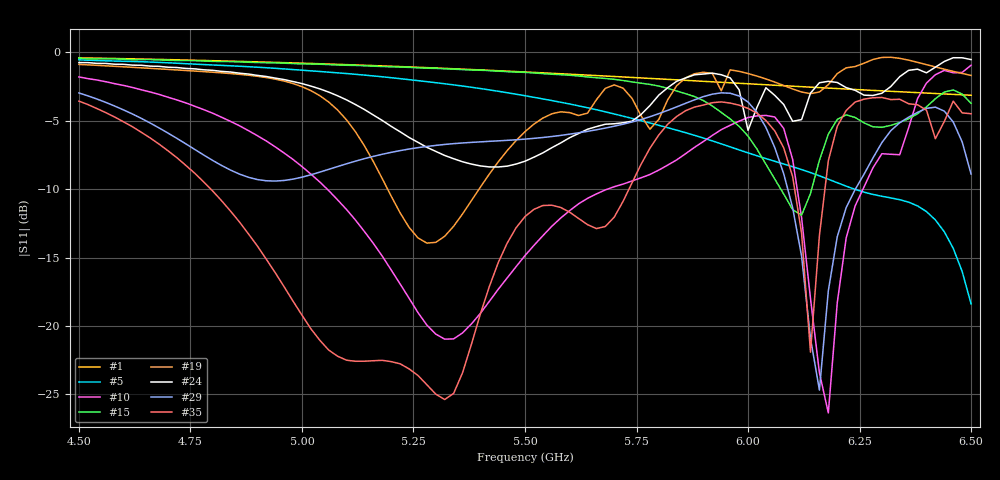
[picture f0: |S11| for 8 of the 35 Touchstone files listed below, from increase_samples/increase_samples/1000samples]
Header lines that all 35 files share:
! TOUCHSTONE file generated by CST MICROWAVE STUDIO
! Project name: L.cst
! Header version: 2018
! Port assignment regex: !\s*Touchstone port\s*([0-9]+)\s*=\s*(CST MWS port|CST DS port)\s*([0-9]+|Zmin|Zmax)\s*\(\"(.*)\"\)(\s*mode\s*([0-9]+))?.*
! Touchstone port assignment:
! Touchstone port 1 = CST MWS port 1 ("")
# GHz S DB R 50
Fixed: Di = 1.27, Epsilon_r = 1.56, InnerDiameter = 1.27, Length = 2, Lf = 10, Lg = 60, OuterConductorThickness = 0.2921, OuterDiameter = 3.6, Wf = 3, Wp = 41.2, de = 1.5, df = 6.8, g = 0.8, h = 2.34, hf = 1.524, w = 9.7
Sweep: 4.5 GHz to 6.5 GHz
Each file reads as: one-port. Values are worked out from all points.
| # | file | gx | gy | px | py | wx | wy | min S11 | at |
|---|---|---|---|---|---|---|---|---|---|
| 1 | S_1000samples601.s1p | 1.44353 | 4.97313 | 9.26034 | 9.65083 | 7.81681 | 4.67771 | -3.1 dB | 6.5 GHz |
| 2 | S_1000samples602.s1p | 0.839582 | 1.17428 | 11.5107 | 9.93344 | 10.6711 | 8.75916 | -18.5 dB | 4.9 GHz |
| 3 | S_1000samples604.s1p | 1.66814 | 2.98532 | 9.50157 | 9.25234 | 7.83343 | 6.26702 | -4.5 dB | 6.5 GHz |
| 4 | S_1000samples606.s1p | 0.589881 | 4.21788 | 9.0667 | 14.9019 | 8.47682 | 10.684 | -17.2 dB | 6.32 GHz |
| 5 | S_1000samples607.s1p | 4.46347 | 4.03074 | 14.2604 | 13.8648 | 9.79695 | 9.83406 | -18.4 dB | 6.5 GHz |
| 6 | S_1000samples608.s1p | 1.26505 | 1.69426 | 13.0665 | 13.0961 | 11.8015 | 11.4019 | -37.9 dB | 5.24 GHz |
| 7 | S_1000samples609.s1p | 3.62124 | 1.17065 | 8.05209 | 12.1052 | 4.43085 | 10.9345 | -15.0 dB | 6.18 GHz |
| 8 | S_1000samples610.s1p | 0.990999 | 4.33504 | 13.7543 | 9.69459 | 12.7633 | 5.35955 | -9.0 dB | 5.36 GHz |
| 9 | S_1000samples612.s1p | 3.70401 | 3.18383 | 14.3492 | 8.08314 | 10.6452 | 4.89931 | -25.7 dB | 6.5 GHz |
| 10 | S_1000samples613.s1p | 2.77879 | 2.51888 | 13.9666 | 13.607 | 11.1878 | 11.0881 | -26.4 dB | 6.18 GHz |
| 11 | S_1000samples614.s1p | 3.24341 | 3.1926 | 10.5802 | 12.8649 | 7.33675 | 9.6723 | -5.1 dB | 6.5 GHz |
| 12 | S_1000samples615.s1p | 4.76435 | 2.09814 | 10.2579 | 13.3482 | 5.49355 | 11.25 | -9.0 dB | 6.4 GHz |
| 13 | S_1000samples617.s1p | 3.22251 | 2.55236 | 10.8327 | 13.4849 | 7.61014 | 10.9325 | -6.9 dB | 6.1 GHz |
| 14 | S_1000samples619.s1p | 4.24471 | 1.71549 | 13.8125 | 8.74756 | 9.56777 | 7.03207 | -5.9 dB | 6.5 GHz |
| 15 | S_1000samples620.s1p | 3.37551 | 2.94309 | 10.0339 | 14.0097 | 6.65835 | 11.0666 | -11.9 dB | 6.12 GHz |
| 16 | S_1000samples621.s1p | 4.85807 | 3.03635 | 14.0694 | 9.43016 | 9.21135 | 6.39381 | -6.1 dB | 6.5 GHz |
| 17 | S_1000samples622.s1p | 0.404919 | 1.03425 | 9.37215 | 10.0479 | 8.96723 | 9.01362 | -15.0 dB | 5 GHz |
| 18 | S_1000samples623.s1p | 0.851814 | 3.71724 | 10.5656 | 10.0271 | 9.71374 | 6.30983 | -11.3 dB | 6.5 GHz |
| 19 | S_1000samples624.s1p | 2.94767 | 1.26082 | 10.5099 | 14.0044 | 7.56224 | 12.7436 | -13.9 dB | 5.28 GHz |
| 20 | S_1000samples625.s1p | 1.96525 | 1.63328 | 12.0124 | 9.10698 | 10.0472 | 7.4737 | -10.6 dB | 5.72 GHz |
| 21 | S_1000samples626.s1p | 3.11311 | 3.60155 | 11.3242 | 12.9844 | 8.21105 | 9.38287 | -5.3 dB | 6.5 GHz |
| 22 | S_1000samples627.s1p | 1.01429 | 1.22894 | 8.31621 | 13.5558 | 7.30192 | 12.3268 | -19.0 dB | 5.46 GHz |
| 23 | S_1000samples628.s1p | 2.99967 | 2.27596 | 10.7878 | 13.1662 | 7.78811 | 10.8902 | -7.4 dB | 6.36 GHz |
| 24 | S_1000samples629.s1p | 4.30939 | 1.28765 | 11.7969 | 13.4538 | 7.4875 | 12.1661 | -8.4 dB | 5.44 GHz |
| 25 | S_1000samples630.s1p | 1.05958 | 0.96045 | 8.55088 | 12.7752 | 7.4913 | 11.8148 | -16.4 dB | 5.58 GHz |
| 26 | S_1000samples631.s1p | 2.08986 | 4.22468 | 9.5569 | 13.3925 | 7.46704 | 9.16781 | -3.5 dB | 6.5 GHz |
| 27 | S_1000samples632.s1p | 0.893341 | 1.85927 | 13.442 | 10.4582 | 12.5486 | 8.59889 | -13.1 dB | 5.12 GHz |
| 28 | S_1000samples633.s1p | 1.31422 | 2.55381 | 12.3876 | 14.3067 | 11.0733 | 11.7529 | -30.0 dB | 5.46 GHz |
| 29 | S_1000samples634.s1p | 3.15748 | 0.674394 | 13.7326 | 11.8529 | 10.5751 | 11.1785 | -24.7 dB | 6.16 GHz |
| 30 | S_1000samples635.s1p | 4.56789 | 0.773942 | 8.16639 | 13.8241 | 3.59851 | 13.0501 | -20.6 dB | 5.36 GHz |
| 31 | S_1000samples636.s1p | 3.69383 | 1.78768 | 8.12608 | 14.6832 | 4.43225 | 12.8955 | -23.6 dB | 5.52 GHz |
| 32 | S_1000samples637.s1p | 0.429415 | 1.76337 | 10.8994 | 13.5433 | 10.4699 | 11.7799 | -30.8 dB | 6.08 GHz |
| 33 | S_1000samples638.s1p | 2.45247 | 1.93889 | 9.5327 | 10.8823 | 7.08023 | 8.94341 | -3.1 dB | 6.5 GHz |
| 34 | S_1000samples639.s1p | 2.88715 | 3.37519 | 12.0492 | 12.1977 | 9.16205 | 8.82255 | -7.7 dB | 6.5 GHz |
| 35 | S_1000samples640.s1p | 2.07315 | 2.27021 | 13.8431 | 11.5941 | 11.77 | 9.32388 | -25.4 dB | 5.32 GHz |
